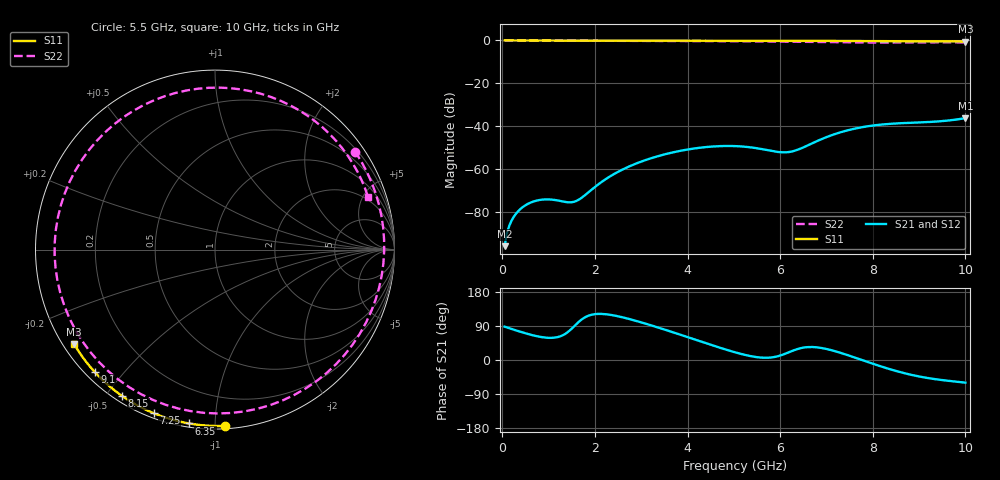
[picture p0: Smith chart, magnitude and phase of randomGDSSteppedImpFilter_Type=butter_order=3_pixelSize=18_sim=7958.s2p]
! freq	dB(S11)	phase(S11)	dB(S12)	phase(S12)
!  dB(S21)	phase(S21)	dB(S22)	phase(S22)
!S-par simulation data
#  GHz  S  DB  R 50
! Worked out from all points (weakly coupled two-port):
!   200 points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, 50 MHz to 10 GHz, reference 50 ohm
!   highest |S21| = -36.12 dB at 10 GHz (marker M1); lowest = -95.7 dB at 50 MHz (marker M2)
!   lowest |S11| = -0.5 dB at 10 GHz (marker M3), VSWR 35.18, Z = 1.55 - j15.2 ohm
!   |S11| at or under -10 dB: nowhere
!   |S22| runs from -1.0 to 0.0 dB; largest |S21 - S12| = 0
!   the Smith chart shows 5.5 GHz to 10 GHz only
!   S11 on the Smith chart (normalised r, x): 5.5 GHz: 0.02, -1.06; 6.35 GHz: 0.02, -0.86; 7.25 GHz: 0.02, -0.69; 8.15 GHz: 0.02, -0.55; 9.1 GHz: 0.03, -0.42; 10 GHz: 0.03, -0.30
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0.05  -0.00 -0.9  -95.68 88.0  -95.68 88.0  -0.00 -3.3
0.45  -0.01 -7.6  -77.38 72.3  -77.38 72.3  -0.04 -29.4
0.95  -0.02 -16.0  -73.91 58.9  -73.91 58.9  -0.08 -61.1
1.5  -0.03 -25.2  -75.24 82.8  -75.24 82.8  -0.11 -93.9
1.75  -0.04 -29.3  -72.58 110.0  -72.58 110.0  -0.12 -108.0
2.6  -0.06 -43.0  -60.00 112.5  -60.00 112.5  -0.17 -153.7
3.4  -0.07 -55.6  -53.58 84.4  -53.58 84.4  -0.21 164.6
4.35  -0.10 -70.0  -49.70 46.3  -49.70 46.3  -0.28 111.8
5.05  -0.12 -80.3  -49.16 19.5  -49.16 19.5  -0.35 67.3
5.5  -0.14 -86.7  -50.14 7.5  -50.14 7.5  -0.42 35.0
5.95  -0.16 -93.0  -51.85 10.0  -51.85 10.0  -0.51 -0.5
6.35  -0.18 -98.5  -51.05 28.0  -51.05 28.0  -0.62 -34.6
6.7  -0.20 -103.2  -47.76 34.2  -47.76 34.2  -0.72 -66.0
6.95  -0.22 -106.6  -45.39 30.4  -45.39 30.4  -0.79 -89.1
7.25  -0.24 -110.6  -43.06 20.9  -43.06 20.9  -0.87 -117.2
7.7  -0.27 -116.5  -40.62 2.8  -40.62 2.8  -0.95 -159.5
8.15  -0.30 -122.4  -39.20 -15.9  -39.20 -15.9  -0.98 159.4
8.35  -0.32 -125.0  -38.82 -23.5  -38.82 -23.5  -0.97 141.7
8.75  -0.36 -130.1  -38.35 -36.8  -38.35 -36.8  -0.92 108.1
9.1  -0.39 -134.6  -38.05 -45.7  -38.05 -45.7  -0.88 80.8
9.55  -0.44 -140.4  -37.41 -53.8  -37.41 -53.8  -0.85 48.6
10  -0.49 -146.2  -36.12 -59.8  -36.12 -59.8  -0.90 19.1
